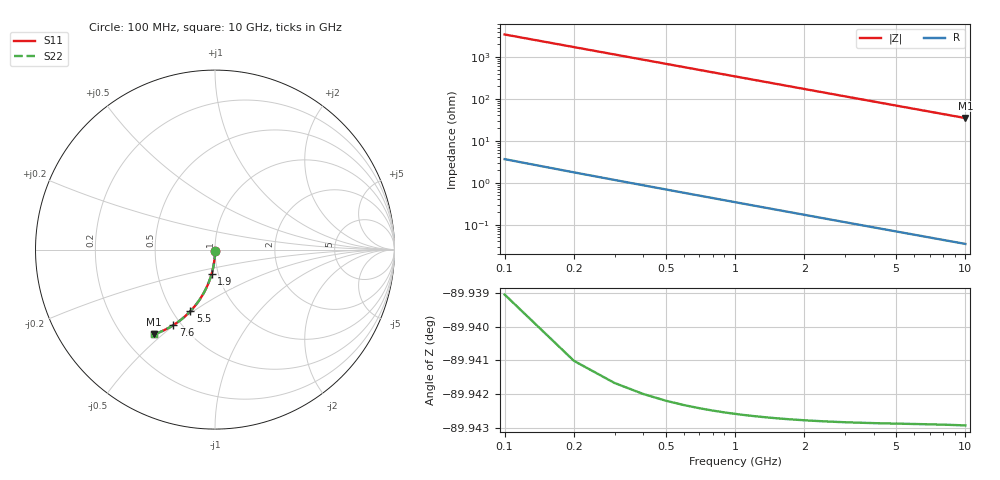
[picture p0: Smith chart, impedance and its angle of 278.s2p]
# Hz S RI R 50.00
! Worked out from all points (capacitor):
!   100 points, 100 MHz to 10 GHz, reference 50 ohm
!   read as one part in shunt: C = 465 fF near 100 MHz
!   lowest |Z| = 34.8 ohm at 10 GHz (marker M1)
!   S11 on the Smith chart (normalised r, x): 100 MHz: 1.00, -0.01; 1.9 GHz: 0.93, -0.26; 5.5 GHz: 0.61, -0.49; 7.6 GHz: 0.45, -0.50; 10 GHz: 0.33, -0.47
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1e8  -5.82e-05 -0.00729  0.9999 -0.00732  0.9999 -0.00732  -5.82e-05 -0.00729
2e8  -0.000226 -0.0146  0.9998 -0.0146  0.9998 -0.0146  -0.000226 -0.0146
3e8  -0.000499 -0.0219  0.9995 -0.0219  0.9995 -0.0219  -0.000499 -0.0219
4e8  -0.000879 -0.0291  0.9991 -0.0292  0.9991 -0.0292  -0.000879 -0.0291
5e8  -0.00137 -0.0364  0.9986 -0.0365  0.9986 -0.0365  -0.00137 -0.0364
6e8  -0.00196 -0.0437  0.998 -0.0438  0.998 -0.0438  -0.00196 -0.0437
8e8  -0.00345 -0.0581  0.9965 -0.0583  0.9965 -0.0583  -0.00345 -0.0581
9e8  -0.00436 -0.0653  0.9956 -0.0655  0.9956 -0.0655  -0.00436 -0.0653
1.1e9  -0.00648 -0.0796  0.9935 -0.0799  0.9935 -0.0799  -0.00648 -0.0796
1.4e9  -0.0104 -0.1009  0.9896 -0.1012  0.9896 -0.1012  -0.0104 -0.1009
1.8e9  -0.017 -0.1287  0.9829 -0.1292  0.9829 -0.1292  -0.017 -0.1287
1.9e9  -0.0189 -0.1356  0.9811 -0.1361  0.9811 -0.1361  -0.0189 -0.1356
2.2e9  -0.0252 -0.1559  0.9748 -0.1565  0.9748 -0.1565  -0.0252 -0.1559
2.6e9  -0.0347 -0.1823  0.9653 -0.1829  0.9653 -0.1829  -0.0347 -0.1823
3.4e9  -0.0577 -0.2324  0.9422 -0.2332  0.9422 -0.2332  -0.0577 -0.2324
4.2e9  -0.0852 -0.2782  0.9148 -0.2792  0.9148 -0.2792  -0.0852 -0.2782
5.1e9  -0.1204 -0.3243  0.8796 -0.3255  0.8796 -0.3255  -0.1204 -0.3243
5.5e9  -0.1371 -0.3428  0.8629 -0.3442  0.8629 -0.3442  -0.1371 -0.3428
6.7e9  -0.1902 -0.3911  0.8098 -0.3928  0.8098 -0.3928  -0.1902 -0.3911
7.6e9  -0.2316 -0.4204  0.7684 -0.4223  0.7684 -0.4223  -0.2316 -0.4204
8.4e9  -0.2687 -0.4417  0.7313 -0.4438  0.7313 -0.4438  -0.2687 -0.4417
1e10  -0.3415 -0.4725  0.6585 -0.475  0.6585 -0.475  -0.3415 -0.4725
